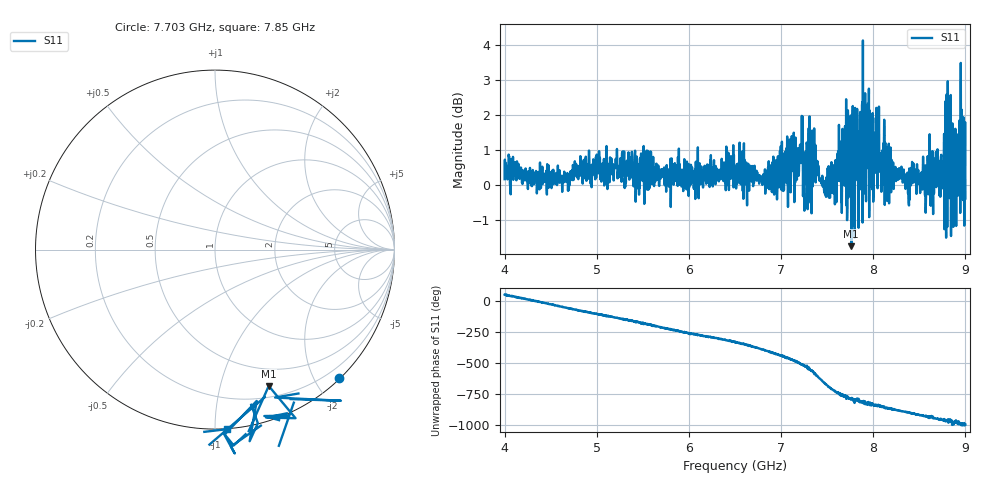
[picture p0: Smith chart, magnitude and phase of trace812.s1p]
! Created with skrf 1.8.0 (http://scikit-rf.org).
# Hz S RI R 50.0
!freq ReS11 ImS11
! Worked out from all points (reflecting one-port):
!   1601 points, 4 GHz to 9 GHz, reference 50 ohm
!   lowest |S11| = -1.8 dB at 7.762 GHz (marker M1), VSWR 9.90, Z = 15.6 - j71.1 ohm
!   phase of S11 starts at 51 deg and turns -1051 deg over the sweep
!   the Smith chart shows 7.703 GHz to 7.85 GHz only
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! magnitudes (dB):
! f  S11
! 4 GHz  0.2
! 4.625 GHz  -0.2
! 5.25 GHz  0.3
! 5.875 GHz  0.2
! 6.5 GHz  0.5
! 6.944 GHz  0.7
! 7.125 GHz  0.9
! 7.209 GHz  0.7
! 7.262 GHz  0.7
! 7.284 GHz  0.2
! 7.309 GHz  2.0
! 7.372 GHz  1.1
! 7.478 GHz  -0.3
! 7.65 GHz  0.9
! 7.75 GHz  -0.3
! 7.762 GHz  -1.8
! 7.775 GHz  1.9
! 7.812 GHz  1.1
! 7.928 GHz  0.7
! 7.981 GHz  0.1
! 8.038 GHz  0.5
! 8.091 GHz  0.5
! 8.375 GHz  0.0
! 8.766 GHz  0.8
! 8.819 GHz  2.5
! 8.856 GHz  -0.2
! 8.959 GHz  2.1
! 9 GHz  -0.4
